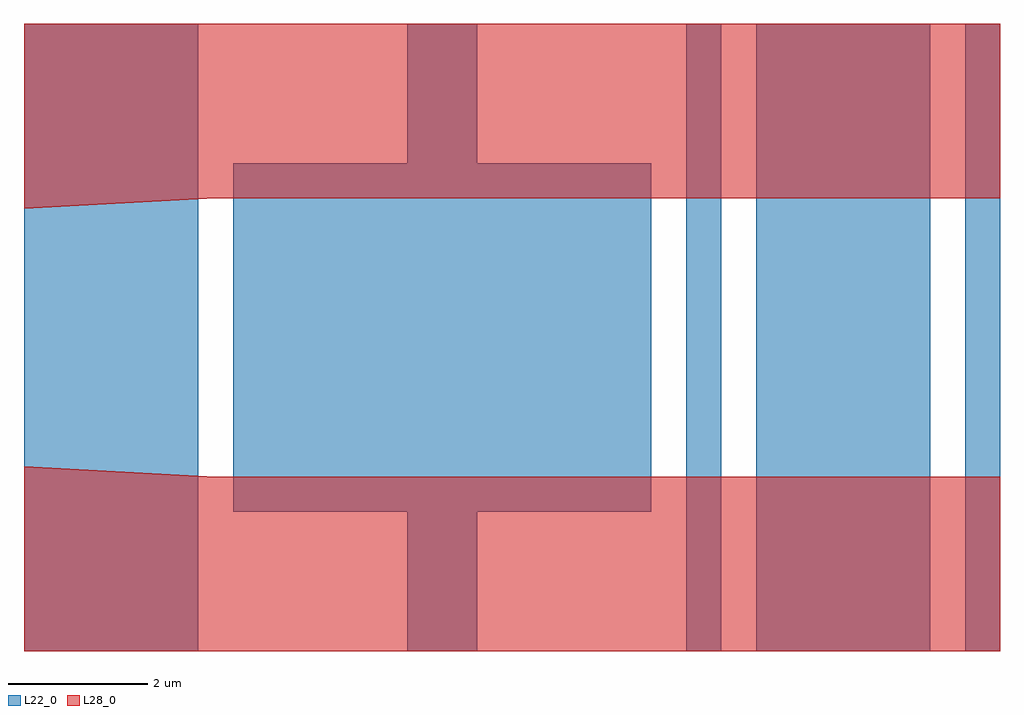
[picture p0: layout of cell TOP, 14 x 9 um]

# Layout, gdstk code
import gdstk
lib = gdstk.Library(unit=1e-6, precision=1e-09)
def R(c, l, rs):  # rectangles x0, y0, x1, y1
    for r in rs: c.add(gdstk.rectangle(r[:2], r[2:], *l))
def P(c, l, *ps):  # polygons
    for p in ps: c.add(gdstk.Polygon(p, *l))
L22_0 = (22, 0)
L28_0 = (28, 0)

top = lib.new_cell('TOP')
R(top, L22_0, [(2911.75,4301,2914.25,4310), (2917.25,4301,2918.25,4303), (2921.25,4301,2921.75,4310), (2922.25,4301,2924.75,4310), (2925.25,4301,2925.75,4310), (2914.75,4303,2920.75,4308), (2917.25,4308,2918.25,4310)])
R(top, L28_0, [(2914.5,4301,2925.75,4303.5), (2914.5,4307.5,2925.75,4310)])
P(top, L28_0, [(2911.75,4301),(2911.75,4303.653),(2914.5,4303.5),(2914.5,4301)],
  [(2911.75,4307.347),(2911.75,4310),(2914.5,4310),(2914.5,4307.5)])

lib.write_gds('TOP.gds')
